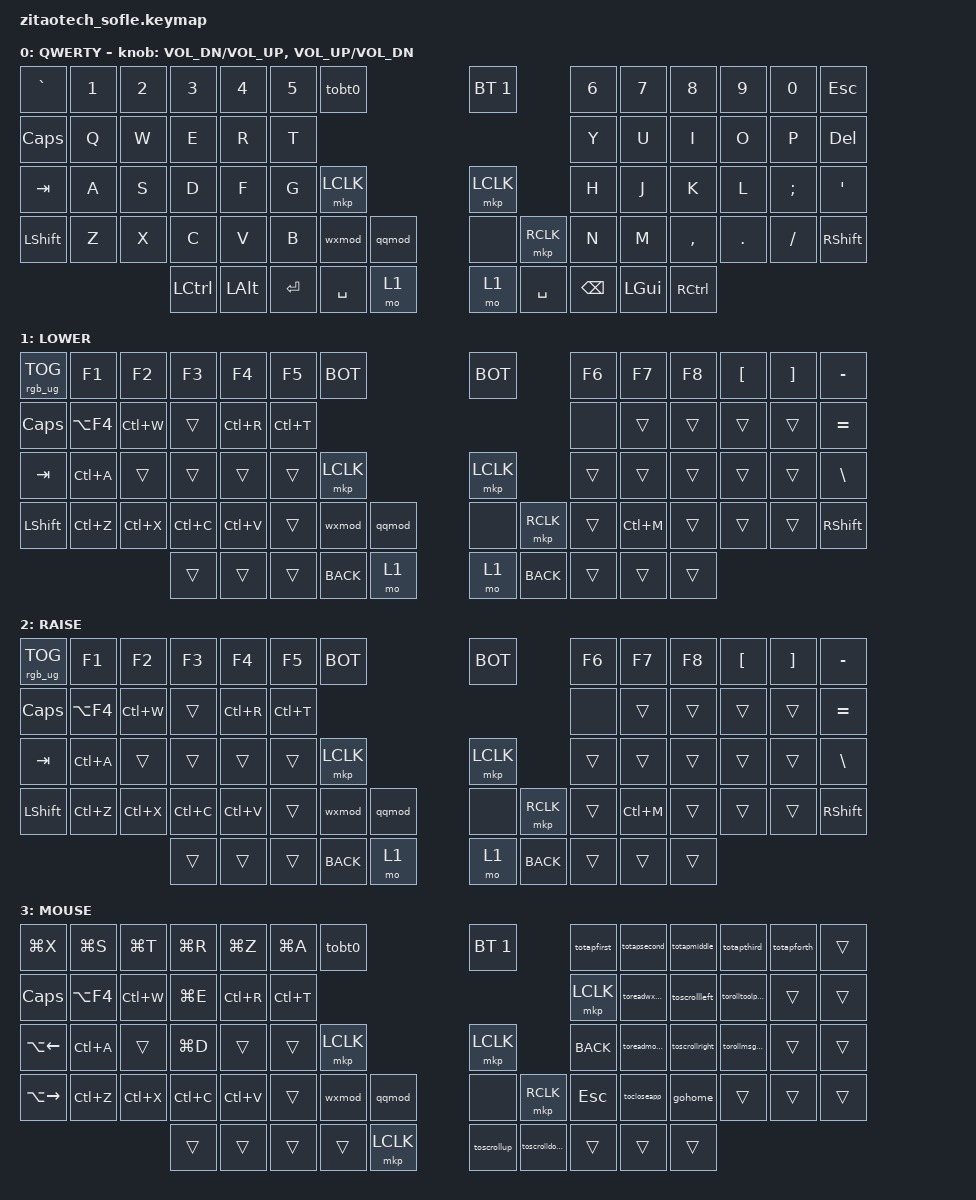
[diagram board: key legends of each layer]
/*
 * Copyright (c) 2025 ZitaoTech
 *
 * SPDX-License-Identifier: MIT
 */

#include <behaviors.dtsi>
#include <dt-bindings/zmk/keys.h>
#include <dt-bindings/zmk/bt.h>
#include <dt-bindings/zmk/outputs.h>
#include <dt-bindings/zmk/mouse.h>
#include <dt-bindings/zmk/backlight.h>
#include <dt-bindings/zmk/ext_power.h>
#include <dt-bindings/zmk/rgb.h>

#define FUNC 1
#define BOT bootloader

/ {
    input_processors {

        zip_temp_layer: zip_temp_layer {
            compatible = "zmk,input-processor-temp-layer";
            #input-processor-cells = <2>;
        };

        ip_behaviors0: ip_behaviors0 {
            compatible = "zmk,input-processor-behaviors";
            #input-processor-cells = <0>;
            type = <INPUT_EV_KEY>;
            codes = <INPUT_BTN_0>;
            bindings = <&kp RIGHT>;
        };
        ip_behaviors1: ip_behaviors1 {
            compatible = "zmk,input-processor-behaviors";
            #input-processor-cells = <0>;
            type = <INPUT_EV_KEY>;
            codes = <INPUT_BTN_1>;
            bindings = <&kp LEFT>;
        };
        ip_behaviors2: ip_behaviors2 {
            compatible = "zmk,input-processor-behaviors";
            #input-processor-cells = <0>;
            type = <INPUT_EV_KEY>;
            codes = <INPUT_BTN_2>;
            bindings = <&kp DOWN>;
        };
        ip_behaviors3: ip_behaviors3 {
            compatible = "zmk,input-processor-behaviors";
            #input-processor-cells = <0>;
            type = <INPUT_EV_KEY>;
            codes = <INPUT_BTN_3>;
            bindings = <&kp UP>;
        };
    };
};

/ {
    behaviors {
        wxmod: tap_dance_wxmod {
            compatible = "zmk,behavior-tap-dance";
            #binding-cells = <0>;
            tapping-term-ms = <400>;
            bindings = <&totapwxinputbar>, <&totapwxinsentmsg>;
        };
    };

    behaviors {
        qqmod: tap_dance_qqmod {
            compatible = "zmk,behavior-tap-dance";
            #binding-cells = <0>;
            tapping-term-ms = <400>;
            bindings = <&totapqqinputbar>, <&totapqqsentmsg>;
        };
    };

    behaviors {
         sp_sc: behavior_spacescroll {
           compatible = "zmk,behavior-hold-tap";
           #binding-cells = <2>;
           flavor = "tap-preferred";     /* 单击优先 */
           tapping-term-ms = <200>;       /* 长按阈值 */
           bindings = <&none &kp>;        /* hold=none, tap=space */
        };
    };

    macros {
        //上滑关闭app
        tocloseapp: zed_em_closeapp {
            compatible = "zmk,behavior-macro";
            #binding-cells = <0>;
            bindings = <&macro_press &kp F4>,<&macro_tap &kp R>,<&macro_release &kp F4>;
        }; 
        //返回桌面
        gohome: zed_em_gohome {
            compatible = "zmk,behavior-macro";
            #binding-cells = <0>;
            bindings = <&macro_press &kp LGUI>,<&macro_tap &kp H>,<&macro_release &kp LGUI>;
        };
        //手机解锁
        loginpwd: macros_loginpwd {
            compatible = "zmk,behavior-macro";
            #binding-cells = <0>;
            bindings = <&macro_tap &kp ENTER &kp SPACE &kp N0 &kp N9 &kp N1 &kp N1 &kp ENTER>;
        };
        //向上滑动
        toscrollup: zed_em_toscrollup {
            compatible = "zmk,behavior-macro";
            #binding-cells = <0>;
            bindings = <&macro_press &kp LCTRL>,<&macro_tap &kp F3>,<&macro_release &kp LCTRL>;
        };
        //向下滑动
        toscrolldown: zed_em_toscrolldown {
            compatible = "zmk,behavior-macro";
            #binding-cells = <0>;
            bindings = <&macro_press &kp F4>,<&macro_tap &kp SPACE>,<&macro_release &kp F4>;
        };
        //向左滑动
        toscrollleft: zed_em_toscrollleft {
            compatible = "zmk,behavior-macro";
            #binding-cells = <0>;
            bindings = <&macro_press &kp F1>,<&macro_tap &kp SPACE>,<&macro_release &kp F1>;
        };
        //向右滑动
        toscrollright: zed_em_toscrollright {
            compatible = "zmk,behavior-macro";
            #binding-cells = <0>;
            bindings = <&macro_press &kp F2>,<&macro_tap &kp SPACE>,<&macro_release &kp F2>;
        };
        //点击第一栏
        totapfirst: zed_em_totapfirst {
            compatible = "zmk,behavior-macro";
            #binding-cells = <0>;
            bindings = <&macro_press &kp F8>,<&macro_tap &kp SPACE>,<&macro_release &kp F8>;
        };
        //点击第二栏
        totapsecond: zed_em_totapsecond {
            compatible = "zmk,behavior-macro";
            #binding-cells = <0>;
            bindings = <&macro_press &kp F10>,<&macro_tap &kp SPACE>,<&macro_release &kp F10>;
        };
        //点击第三栏
        totapthird: zed_em_totapthird {
            compatible = "zmk,behavior-macro";
            #binding-cells = <0>;
            bindings = <&macro_press &kp F9>,<&macro_tap &kp SPACE>,<&macro_release &kp F9>;
        };
        //点击第四栏
        totapforth: zed_em_totapforth {
            compatible = "zmk,behavior-macro";
            #binding-cells = <0>;
            bindings = <&macro_press &kp F11>,<&macro_tap &kp SPACE>,<&macro_release &kp F11>;
        };
        //点击中间栏
        totapmiddle: zed_em_totapmiddle {
            compatible = "zmk,behavior-macro";
            #binding-cells = <0>;
            bindings = <&macro_press &kp LGUI>,<&macro_tap &kp N3>,<&macro_release &kp LGUI>;
        };
        //读微信最新的信息
        toreadwxmsg: zed_em_toreadwxmsg {
            compatible = "zmk,behavior-macro";
            #binding-cells = <0>;
            bindings = <&macro_press &kp F5>,<&macro_tap &kp SPACE>,<&macro_release &kp F5>;
        };
        //读微信群更多的信息
        toreadmorewxmsg: zed_em_toreadmorewxmsg {
            compatible = "zmk,behavior-macro";
            #binding-cells = <0>;
            bindings = <&macro_press &kp F6>,<&macro_tap &kp SPACE>,<&macro_release &kp F6>;
        };
        //下拉控制栏
        torolltoolpanel: zed_em_torolltoolpanel {
            compatible = "zmk,behavior-macro";
            #binding-cells = <0>;
            bindings = <&macro_press &kp F7>,<&macro_tap &kp SPACE>,<&macro_release &kp F7>;
        };
        //下拉通知栏
        torollmsgpanel: zed_em_torollmsgpanel {
            compatible = "zmk,behavior-macro";
            #binding-cells = <0>;
            bindings = <&macro_press &kp LGUI>,<&macro_tap &kp N>,<&macro_release &kp LGUI>;
        };
        //点击微信文字输入框
        totapwxinputbar: zed_em_totapwxinputbar {
            compatible = "zmk,behavior-macro";
            #binding-cells = <0>;
            bindings = <&macro_press &kp LGUI>,<&macro_tap &kp ENTER>,<&macro_release &kp LGUI>;
        };
        //点击微信文字发送
        totapwxinsentmsg: zed_em_totapwxinsentmsg {
            compatible = "zmk,behavior-macro";
            #binding-cells = <0>;
            bindings = <&macro_press &kp LGUI>,<&macro_tap &kp RSHFT>,<&macro_release &kp LGUI>;
        };
        //点击QQ文字输入框
        totapqqinputbar: zed_em_totapqqinputbar {
            compatible = "zmk,behavior-macro";
            #binding-cells = <0>;
            bindings = <&macro_press &kp LGUI>,<&macro_tap &kp BSPC>,<&macro_release &kp LGUI>;
        };
        //点击QQ文字发送
        totapqqsentmsg: zed_em_totapqqsentmsg {
            compatible = "zmk,behavior-macro";
            #binding-cells = <0>;
            bindings = <&macro_press &kp LGUI>,<&macro_tap &kp LSHFT>,<&macro_release &kp LGUI>;
        };
        //切换设备0
        tobt0: zed_em_tobt0 {
            compatible = "zmk,behavior-macro";
            #binding-cells = <0>;
            wait-ms = <80>;
            tap-ms = <200>;
            bindings = <&macro_tap &bt BT_SEL 0>,<&macro_tap &kp SPACE &kp SPACE &kp N0 &kp N9 &kp N1 &kp N1 &kp ENTER>;
        };
};

    keymap {
        compatible = "zmk,keymap";

         default_layer {
            display-name = "QWERTY";
           bindings = <
&kp GRAVE   &kp N1   &kp N2     &kp N3     &kp N4          &kp N5          &tobt0                                &bt BT_SEL 1                    &kp N6             &kp N7      &kp N8     &kp N9    &kp N0     &kp ESC
&kp CAPS    &kp Q    &kp W      &kp E      &kp R           &kp T                                                                                 &kp Y              &kp U       &kp I      &kp O     &kp P      &kp DEL
&kp TAB     &kp A    &kp S      &kp D      &kp F           &kp G           &mkp LCLK                             &mkp LCLK                       &kp H              &kp J       &kp K      &kp L     &kp SEMI   &kp SQT
&kp LSHFT   &kp Z    &kp X      &kp C      &kp V           &kp B           &wxmod       &qqmod                   &none           &mkp RCLK       &kp N              &kp M       &kp COMMA  &kp DOT   &kp FSLH   &kp RSHFT
                                &kp LCTRL  &kp LALT        &kp ENTER       &kp SPACE    &mo 1                    &mo 1           &kp SPACE       &kp BSPC           &kp LGUI    &kp RCTRL
           >; 
           sensor-bindings = <&inc_dec_kp K_VOL_DN K_VOL_UP &inc_dec_kp C_VOL_UP C_VOL_DN>;
        };

        lower_layer {
            display-name = "LOWER";
            bindings = <
&rgb_ug RGB_TOG        &kp F1        &kp F2     &kp F3     &kp F4          &kp F5           &BOT                           &BOT                            &kp F6     &kp F7       &kp F8     &kp LBKT  &kp RBKT    &kp MINUS
&kp CAPS               &kp LA(F4)    &kp LC(W)  &trans     &kp LC(R)       &kp LC(T)                                                                       &none      &trans       &trans     &trans    &trans      &kp EQUAL
&kp TAB                &kp LC(A)     &trans     &trans     &trans          &trans           &mkp LCLK                      &mkp LCLK                       &trans     &trans       &trans     &trans    &trans      &kp BACKSLASH
&kp LSHFT              &kp LC(Z)     &kp LC(X)  &kp LC(C)  &kp LC(V)       &trans           &wxmod       &qqmod            &none           &mkp RCLK       &trans     &kp LC(M)    &trans     &trans    &trans      &kp RSHFT
                                                &trans     &trans          &trans           &kp K_BACK   &mo 1             &mo 1           &kp K_BACK      &trans     &trans       &trans
            >;
        };
        raise_layer {
            display-name = "RAISE";
            bindings = <
&rgb_ug RGB_TOG        &kp F1        &kp F2     &kp F3     &kp F4          &kp F5           &BOT                           &BOT                            &kp F6     &kp F7       &kp F8     &kp LBKT  &kp RBKT    &kp MINUS
&kp CAPS               &kp LA(F4)    &kp LC(W)  &trans     &kp LC(R)       &kp LC(T)                                                                       &none      &trans       &trans     &trans    &trans      &kp EQUAL
&kp TAB                &kp LC(A)     &trans     &trans     &trans          &trans           &mkp LCLK                      &mkp LCLK                       &trans     &trans       &trans     &trans    &trans      &kp BACKSLASH
&kp LSHFT              &kp LC(Z)     &kp LC(X)  &kp LC(C)  &kp LC(V)       &trans           &wxmod       &qqmod            &none           &mkp RCLK       &trans     &kp LC(M)    &trans     &trans    &trans      &kp RSHFT
                                                &trans     &trans          &trans           &kp K_BACK   &mo 1             &mo 1           &kp K_BACK      &trans     &trans       &trans
            >;
        };
        MOUSE_layer {
            display-name = "MOUSE";
            bindings = <
&kp LG(X)         &kp LG(S)       &kp LG(T)         &kp LG(R)      &kp LG(Z)        &kp LG(A)      &tobt0                  &bt BT_SEL 1                      &totapfirst        &totapsecond        &totapmiddle      &totapthird        &totapforth     &trans
&kp CAPS          &kp LA(F4)      &kp LC(W)         &kp LG(E)      &kp LC(R)        &kp LC(T)                                                                &mkp LCLK          &toreadwxmsg        &toscrollleft     &torolltoolpanel   &trans          &trans
&kp LA(LEFT)      &kp LC(A)       &trans            &kp LG(D)      &trans           &trans         &mkp LCLK               &mkp LCLK                         &kp K_BACK         &toreadmorewxmsg    &toscrollright    &torollmsgpanel    &trans          &trans
&kp LA(RIGHT)     &kp LC(Z)       &kp LC(X)         &kp LC(C)      &kp LC(V)        &trans         &wxmod      &qqmod      &none          &mkp RCLK          &kp ESC            &tocloseapp         &gohome           &trans             &trans          &trans
                                                    &trans         &trans           &trans         &trans      &mkp LCLK   &toscrollup    &toscrolldown      &trans             &trans              &trans
            >;
        };
    };
};
